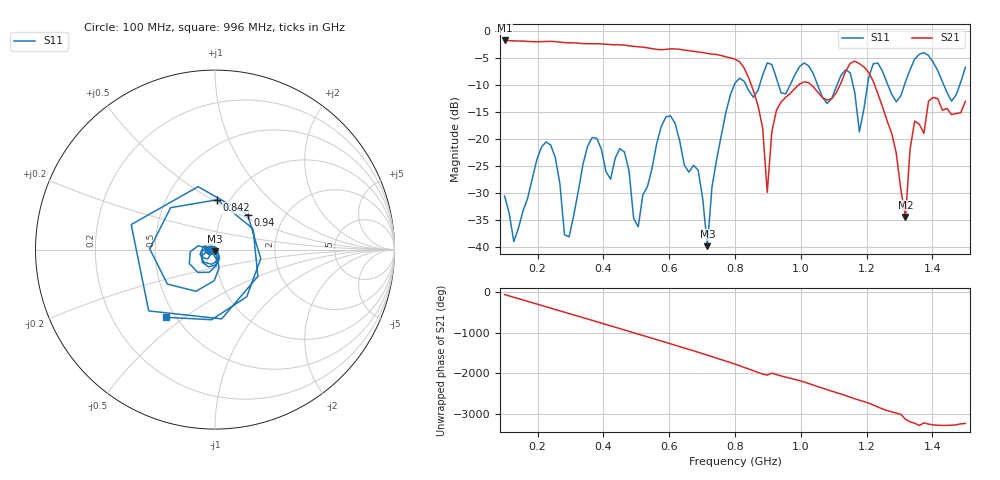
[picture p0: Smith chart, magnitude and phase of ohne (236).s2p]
! NanoVNA-App
! Date: 2025-09-25 14:22:38
! Start: 100MHz Stop: 1,5GHz Points: 101
! S-Parameter data: F S11 S21 S12 S22
# Hz S RI R 50
!  Frequency  S11_Real  S11_Imag  S21_Real  S21_Imag  S12_Real  S12_Imag  S22_Real  S22_Imag
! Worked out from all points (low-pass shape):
!   101 points, 100 MHz to 1.5 GHz, reference 50 ohm
!   highest |S21| = -1.79 dB at 100 MHz (marker M1); lowest = -34.5 dB at 1.318 GHz (marker M2)
!   |S21| within 3 dB of the highest: start of sweep to 770.4 MHz
!   lowest |S11| = -39.9 dB at 716 MHz (marker M3), VSWR 1.02, Z = 49.8 - j0.982 ohm
!   |S11| at or under -10 dB: start of sweep to 798 MHz; 833.1 MHz to 875.1 MHz (42.01 MHz wide, 4.92 % of centre); 1.051 GHz to 1.11 GHz (59.69 MHz wide, 5.52 % of centre)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
!   S12 and S22 are empty: the file has one direction only
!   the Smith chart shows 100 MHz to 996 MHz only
!   S11 on the Smith chart (normalised r, x): 100 MHz: 0.94, -0.01; 842 MHz: 0.88, +0.53; 940 MHz: 1.32, +0.55; 996 MHz: 0.44, -0.43
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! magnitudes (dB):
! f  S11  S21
! 100 MHz  -30.6  -1.8
! 128 MHz  -39.1  -1.9
! 226 MHz  -20.6  -2.0
! 296 MHz  -38.2  -2.2
! 338 MHz  -24.8  -2.4
! 464 MHz  -22.5  -2.7
! 506 MHz  -36.3  -3.0
! 576 MHz  -17.7  -3.5
! 688 MHz  -25.8  -3.9
! 716 MHz  -39.9  -4.2
! 800 MHz  -9.7  -5.3
! 842 MHz  -11.1  -8.8
! 898 MHz  -6.0  -30.0
! 940 MHz  -11.5  -13.2
! 996 MHz  -6.6  -9.9
! 1.038 GHz  -8.0  -10.4
! 1.178 GHz  -18.7  -6.1
! 1.22 GHz  -6.1  -9.4
! 1.276 GHz  -11.7  -19.0
! 1.318 GHz  -9.5  -34.5
! 1.346 GHz  -5.2  -16.7
! 1.5 GHz  -6.8  -13.1
